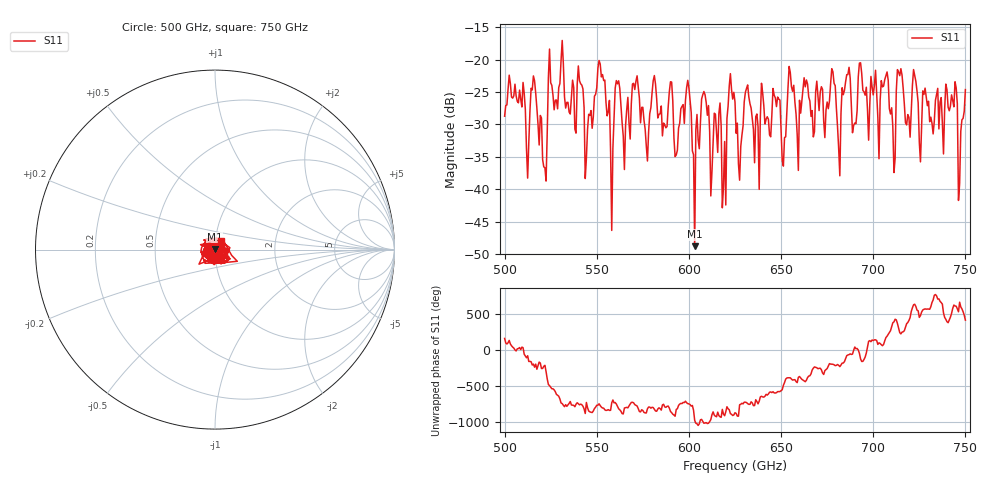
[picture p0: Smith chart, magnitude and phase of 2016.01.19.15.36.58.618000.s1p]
!Created with skrf (http://scikit-rf.org).
# GHz S RI R 50.0
!freq ReS11 ImS11
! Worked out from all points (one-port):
!   401 points, 500 GHz to 750 GHz, reference 50 ohm
!   lowest |S11| = -48.8 dB at 603.1 GHz (marker M1), VSWR 1.01, Z = 49.9 + j0.358 ohm
!   |S11| at or under -10 dB: start of sweep to end of sweep
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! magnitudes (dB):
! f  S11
! 500 GHz  -28.7
! 512.5 GHz  -38.3
! 515.6 GHz  -22.5
! 521.9 GHz  -36.7
! 525 GHz  -23.6
! 531.2 GHz  -17.1
! 545 GHz  -30.8
! 551.9 GHz  -20.7
! 557.5 GHz  -34.3
! 562.5 GHz  -24.5
! 590 GHz  -23.4
! 593.8 GHz  -34.0
! 599.4 GHz  -23.2
! 603.1 GHz  -48.8
! 608.1 GHz  -24.9
! 618.8 GHz  -39.6
! 621.9 GHz  -24.1
! 625 GHz  -26.5
! 651.2 GHz  -36.4
! 656.2 GHz  -24.9
! 687.5 GHz  -22.9
! 706.9 GHz  -22.5
! 710.6 GHz  -30.4
! 714.4 GHz  -22.5
! 718.8 GHz  -28.5
! 743.8 GHz  -27.3
! 747.5 GHz  -31.1
! 750 GHz  -24.6
